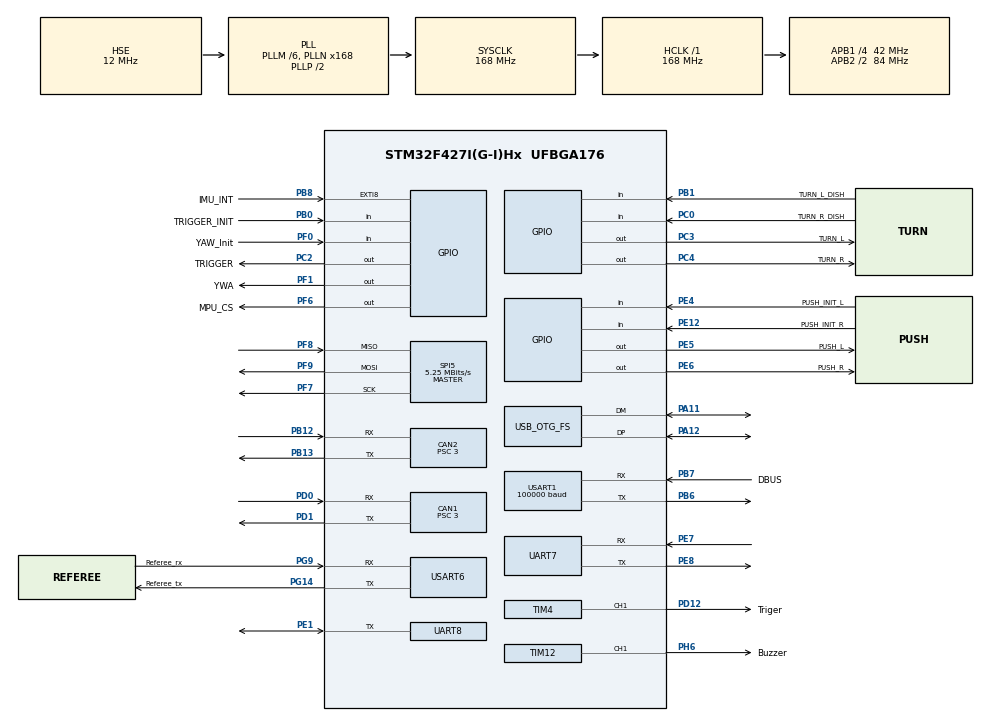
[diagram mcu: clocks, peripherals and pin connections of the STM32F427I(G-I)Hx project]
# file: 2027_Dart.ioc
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ADC1.Channel-0\#ChannelRegularConversion=ADC_CHANNEL_TEMPSENSOR
ADC1.ClockPrescaler=ADC_CLOCK_SYNC_PCLK_DIV6
ADC1.InjNumberOfConversion=0
ADC1.NbrOfConversionFlag=1
ADC1.Rank-0\#ChannelRegularConversion=1
ADC1.SamplingTime-0\#ChannelRegularConversion=ADC_SAMPLETIME_3CYCLES
ADC1.master=1
CAN1.ABOM=ENABLE
CAN1.BS1=CAN_BS1_10TQ
CAN1.BS2=CAN_BS2_3TQ
CAN1.CalculateBaudRate=1000000
CAN1.CalculateTimeBit=1000
CAN1.CalculateTimeQuantum=71.42857142857143
CAN1.NART=ENABLE
CAN1.Prescaler=3
CAN2.ABOM=ENABLE
CAN2.BS1=CAN_BS1_10TQ
CAN2.BS2=CAN_BS2_3TQ
CAN2.CalculateBaudRate=1000000
CAN2.CalculateTimeBit=1000
CAN2.CalculateTimeQuantum=71.42857142857143
CAN2.NART=ENABLE
CAN2.Prescaler=3
Dma.Request0=USART1_RX
Dma.Request1=USART6_RX
Dma.Request2=USART6_TX
Dma.Request3=UART7_TX
Dma.Request4=UART7_RX
Dma.UART7_RX.4.Direction=DMA_PERIPH_TO_MEMORY
Dma.UART7_RX.4.FIFOMode=DMA_FIFOMODE_DISABLE
Dma.UART7_RX.4.Instance=DMA1_Stream3
Dma.UART7_RX.4.MemDataAlignment=DMA_MDATAALIGN_BYTE
Dma.UART7_RX.4.MemInc=DMA_MINC_ENABLE
Dma.UART7_RX.4.Mode=DMA_CIRCULAR
Dma.UART7_RX.4.PeriphDataAlignment=DMA_PDATAALIGN_BYTE
Dma.UART7_RX.4.PeriphInc=DMA_PINC_DISABLE
Dma.UART7_RX.4.Priority=DMA_PRIORITY_MEDIUM
Dma.UART7_TX.3.Direction=DMA_MEMORY_TO_PERIPH
Dma.UART7_TX.3.FIFOMode=DMA_FIFOMODE_DISABLE
Dma.UART7_TX.3.Instance=DMA1_Stream1
Dma.UART7_TX.3.MemDataAlignment=DMA_MDATAALIGN_BYTE
Dma.UART7_TX.3.MemInc=DMA_MINC_ENABLE
Dma.UART7_TX.3.Mode=DMA_NORMAL
Dma.UART7_TX.3.PeriphDataAlignment=DMA_PDATAALIGN_BYTE
Dma.UART7_TX.3.PeriphInc=DMA_PINC_DISABLE
Dma.UART7_TX.3.Priority=DMA_PRIORITY_MEDIUM
Dma.USART1_RX.0.Direction=DMA_PERIPH_TO_MEMORY
Dma.USART1_RX.0.FIFOMode=DMA_FIFOMODE_DISABLE
Dma.USART1_RX.0.Instance=DMA2_Stream2
Dma.USART1_RX.0.MemDataAlignment=DMA_MDATAALIGN_BYTE
Dma.USART1_RX.0.MemInc=DMA_MINC_ENABLE
Dma.USART1_RX.0.Mode=DMA_NORMAL
Dma.USART1_RX.0.PeriphDataAlignment=DMA_PDATAALIGN_BYTE
Dma.USART1_RX.0.PeriphInc=DMA_PINC_DISABLE
Dma.USART1_RX.0.Priority=DMA_PRIORITY_HIGH
Dma.USART6_RX.1.Direction=DMA_PERIPH_TO_MEMORY
Dma.USART6_RX.1.FIFOMode=DMA_FIFOMODE_ENABLE
Dma.USART6_RX.1.FIFOThreshold=DMA_FIFO_THRESHOLD_FULL
Dma.USART6_RX.1.Instance=DMA2_Stream1
Dma.USART6_RX.1.MemBurst=DMA_MBURST_SINGLE
Dma.USART6_RX.1.MemDataAlignment=DMA_MDATAALIGN_BYTE
Dma.USART6_RX.1.MemInc=DMA_MINC_ENABLE
Dma.USART6_RX.1.Mode=DMA_NORMAL
Dma.USART6_RX.1.PeriphBurst=DMA_PBURST_SINGLE
Dma.USART6_RX.1.PeriphDataAlignment=DMA_PDATAALIGN_BYTE
Dma.USART6_RX.1.PeriphInc=DMA_PINC_DISABLE
Dma.USART6_RX.1.Priority=DMA_PRIORITY_HIGH
Dma.USART6_TX.2.Direction=DMA_MEMORY_TO_PERIPH
Dma.USART6_TX.2.FIFOMode=DMA_FIFOMODE_DISABLE
Dma.USART6_TX.2.Instance=DMA2_Stream6
Dma.USART6_TX.2.MemDataAlignment=DMA_MDATAALIGN_BYTE
Dma.USART6_TX.2.MemInc=DMA_MINC_ENABLE
Dma.USART6_TX.2.Mode=DMA_NORMAL
Dma.USART6_TX.2.PeriphDataAlignment=DMA_PDATAALIGN_BYTE
Dma.USART6_TX.2.PeriphInc=DMA_PINC_DISABLE
Dma.USART6_TX.2.Priority=DMA_PRIORITY_MEDIUM
FREERTOS.Tasks01=defaultTask,0,128,StartDefaultTask,Default,NULL,Dynamic,NULL,NULL;detectTask,-3,128,detect_task,As weak,NULL,Dynamic,NULL,NULL;USBTask,-3,128,usb_task,As weak,NULL,Dynamic,NULL,NULL;DecodeTask,-3,128,decode_task,As weak,NULL,Dynamic,NULL,NULL;DartTask,-3,256,dart_task,As weak,NULL,Dynamic,NULL,NULL
FREERTOS.configENABLE_FPU=1
FREERTOS.configTOTAL_HEAP_SIZE=24576
FREERTOS.configUSE_COUNTING_SEMAPHORES=1
Mcu.Family=STM32F4
Mcu.Name=STM32F427I(G-I)Hx
Mcu.Package=UFBGA176
NVIC.CAN1_RX0_IRQn=true\:5\:0\:true\:false\:true\:true\:true\:true\:true
NVIC.CAN2_RX0_IRQn=true\:5\:0\:true\:false\:true\:true\:true\:true\:true
NVIC.DMA1_Stream1_IRQn=true\:5\:0\:false\:false\:true\:true\:false\:true\:true
NVIC.DMA1_Stream3_IRQn=true\:5\:0\:false\:false\:true\:true\:false\:true\:true
NVIC.DMA2_Stream1_IRQn=true\:5\:0\:true\:false\:true\:true\:false\:true\:true
NVIC.DMA2_Stream2_IRQn=true\:5\:0\:true\:false\:true\:true\:false\:true\:true
NVIC.DMA2_Stream6_IRQn=true\:5\:0\:true\:false\:true\:true\:false\:true\:true
NVIC.EXTI9_5_IRQn=true\:5\:0\:true\:false\:true\:true\:true\:true\:true
NVIC.OTG_FS_IRQn=true\:5\:0\:true\:false\:true\:true\:true\:true\:true
NVIC.PriorityGroup=NVIC_PRIORITYGROUP_4
NVIC.UART7_IRQn=true\:5\:0\:false\:false\:true\:true\:true\:true\:true
NVIC.USART1_IRQn=true\:5\:0\:true\:false\:true\:true\:true\:true\:true
NVIC.USART6_IRQn=true\:5\:0\:true\:false\:true\:true\:true\:true\:true
PA11.Mode=Device_Only
PA11.Signal=USB_OTG_FS_DM
PA12.Mode=Device_Only
PA12.Signal=USB_OTG_FS_DP
PA13.Mode=Serial_Wire
PA13.Signal=SYS_JTMS-SWDIO
PA14.Mode=Serial_Wire
PA14.Signal=SYS_JTCK-SWCLK
PB0.GPIO_Label=TRIGGER_INIT
PB0.GPIO_PuPd=GPIO_PULLDOWN
PB0.Signal=GPIO_Input
PB1.GPIO_Label=TURN_L_DISH
PB1.GPIO_PuPd=GPIO_PULLDOWN
PB1.Signal=GPIO_Input
PB12.GPIO_PuPd=GPIO_PULLUP
PB12.Mode=CAN_Activate
PB12.Signal=CAN2_RX
PB13.GPIO_PuPd=GPIO_PULLUP
PB13.Mode=CAN_Activate
PB13.Signal=CAN2_TX
PB6.Mode=Asynchronous
PB6.Signal=USART1_TX
PB7.GPIO_Label=DBUS
PB7.GPIO_PuPd=GPIO_PULLUP
PB7.Mode=Asynchronous
PB7.Signal=USART1_RX
PB8.GPIO_Label=IMU_INT
PB8.Signal=GPXTI8
PC0.GPIO_Label=TURN_R_DISH
PC0.GPIO_PuPd=GPIO_PULLDOWN
PC0.Signal=GPIO_Input
PC2.GPIO_Label=TRIGGER
PC2.GPIO_PuPd=GPIO_PULLUP
PC2.Signal=GPIO_Output
PC3.GPIO_Label=TURN_L
PC3.GPIO_PuPd=GPIO_PULLUP
PC3.Signal=GPIO_Output
PC4.GPIO_Label=TURN_R
PC4.GPIO_PuPd=GPIO_PULLUP
PC4.Signal=GPIO_Output
PD0.GPIO_PuPd=GPIO_PULLUP
PD0.Mode=CAN_Activate
PD0.Signal=CAN1_RX
PD1.GPIO_PuPd=GPIO_PULLUP
PD1.Mode=CAN_Activate
PD1.Signal=CAN1_TX
PD12.GPIO_Label=Triger
PD12.Signal=S_TIM4_CH1
PE1.GPIO_ModeDefaultOD=GPIO_MODE_AF_PP
PE1.GPIO_PuPd=GPIO_PULLUP
PE1.Mode=Half_duplex(single_wire_mode)
PE1.Signal=UART8_TX
PE12.GPIO_Label=PUSH_INIT_R
PE12.GPIO_PuPd=GPIO_PULLDOWN
PE12.Signal=GPIO_Input
PE4.GPIO_Label=PUSH_INIT_L
PE4.GPIO_PuPd=GPIO_PULLDOWN
PE4.Signal=GPIO_Input
PE5.GPIO_Label=PUSH_L
PE5.GPIO_PuPd=GPIO_PULLUP
PE5.Signal=GPIO_Output
PE6.GPIO_Label=PUSH_R
PE6.GPIO_PuPd=GPIO_PULLUP
PE6.Signal=GPIO_Output
PE7.Mode=Asynchronous
PE7.Signal=UART7_RX
PE8.GPIO_PuPd=GPIO_PULLUP
PE8.Mode=Asynchronous
PE8.Signal=UART7_TX
PF0.GPIO_Label=YAW_Init
PF0.GPIO_PuPd=GPIO_PULLDOWN
PF0.Signal=GPIO_Input
PF1.GPIO_Label=YWA
PF1.GPIO_PuPd=GPIO_PULLUP
PF1.Signal=GPIO_Output
PF6.GPIO_Label=MPU_CS
PF6.GPIO_Speed=GPIO_SPEED_FREQ_HIGH
PF6.Signal=GPIO_Output
PF7.GPIO_Speed=GPIO_SPEED_FREQ_HIGH
PF7.Mode=Full_Duplex_Master
PF7.Signal=SPI5_SCK
PF8.GPIO_PuPd=GPIO_PULLUP
PF8.GPIO_Speed=GPIO_SPEED_FREQ_HIGH
PF8.Mode=Full_Duplex_Master
PF8.Signal=SPI5_MISO
PF9.GPIO_Speed=GPIO_SPEED_FREQ_HIGH
PF9.Mode=Full_Duplex_Master
PF9.Signal=SPI5_MOSI
PG14.GPIO_Label=Referee_tx
PG14.Mode=Asynchronous
PG14.Signal=USART6_TX
PG9.GPIO_Label=Referee_rx
PG9.Mode=Asynchronous
PG9.Signal=USART6_RX
PH0/OSC_IN.Mode=HSE-External-Oscillator
PH0/OSC_IN.Signal=RCC_OSC_IN
PH1/OSC_OUT.Mode=HSE-External-Oscillator
PH1/OSC_OUT.Signal=RCC_OSC_OUT
PH6.GPIO_Label=Buzzer
PH6.GPIO_Speed=GPIO_SPEED_FREQ_MEDIUM
PH6.Signal=S_TIM12_CH1
ProjectManager.HeapSize=0x200
ProjectManager.StackSize=0x400
ProjectManager.TargetToolchain=STM32CubeIDE
RCC.48MHZClocksFreq_Value=48000000
RCC.AHBFreq_Value=168000000
RCC.APB1CLKDivider=RCC_HCLK_DIV4
RCC.APB1Freq_Value=42000000
RCC.APB1TimFreq_Value=84000000
RCC.APB2CLKDivider=RCC_HCLK_DIV2
RCC.APB2Freq_Value=84000000
RCC.APB2TimFreq_Value=168000000
RCC.CortexFreq_Value=168000000
RCC.HCLKFreq_Value=168000000
RCC.HSE_VALUE=12000000
RCC.HSI_VALUE=16000000
RCC.LSE_VALUE=32768
RCC.PLLM=6
RCC.PLLN=168
RCC.PLLQ=7
RCC.SYSCLKFreq_VALUE=168000000
RCC.SYSCLKSource=RCC_SYSCLKSOURCE_PLLCLK
RCC.VCOOutputFreq_Value=336000000
SH.S_TIM12_CH1.0=TIM12_CH1,PWM Generation1 CH1
SH.S_TIM4_CH1.0=TIM4_CH1,PWM Generation1 CH1
SPI5.BaudRatePrescaler=SPI_BAUDRATEPRESCALER_16
SPI5.CLKPolarity=SPI_POLARITY_LOW
SPI5.CalculateBaudRate=5.25 MBits/s
SPI5.Direction=SPI_DIRECTION_2LINES
SPI5.Mode=SPI_MODE_MASTER
SPI5.VirtualType=VM_MASTER
TIM12.Channel-PWM\ Generation1\ CH1=TIM_CHANNEL_1
TIM4.Channel-PWM\ Generation1\ CH1=TIM_CHANNEL_1
TIM4.Period=19999
TIM4.Prescaler=83
TIM4.Pulse-PWM\ Generation1\ CH1=1500
UART7.VirtualMode=Asynchronous
UART8.VirtualMode=Asynchronous
USART1.BaudRate=100000
USART1.Mode=MODE_RX
USART1.Parity=PARITY_EVEN
USART1.VirtualMode=VM_ASYNC
USART1.WordLength=WORDLENGTH_9B
USART6.VirtualMode=VM_ASYNC
USB_DEVICE.CLASS_NAME_FS=CDC
USB_DEVICE.VirtualMode-CDC_FS=Cdc
USB_DEVICE.VirtualModeFS=Cdc_FS
USB_OTG_FS.VirtualMode=Device_Only
VP_ADC1_TempSens_Input.Mode=IN-TempSens
VP_ADC1_Vref_Input.Mode=IN-Vrefint
VP_CRC_VS_CRC.Mode=CRC_Activate
VP_FREERTOS_VS_CMSIS_V1.Mode=CMSIS_V1
VP_RNG_VS_RNG.Mode=RNG_Activate
VP_TIM12_VS_ClockSourceINT.Mode=Internal
VP_TIM4_VS_ClockSourceINT.Mode=Internal
VP_USB_DEVICE_VS_USB_DEVICE_CDC_FS.Mode=CDC_FS
board=custom

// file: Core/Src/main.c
/* USER CODE BEGIN Header */
/**
  ******************************************************************************
  * @file           : main.c
  * @brief          : Main program body
  ******************************************************************************
  * @attention
  *
  * Copyright (c) 2026 STMicroelectronics.
  * All rights reserved.
  *
  * This software is licensed under terms that can be found in the LICENSE file
  * in the root directory of this software component.
  * If no LICENSE file comes with this software, it is provided AS-IS.
  *
  ******************************************************************************
  */
/* USER CODE END Header */
#include "main.h"
#include "cmsis_os.h"
#include "adc.h"
#include "can.h"
#include "crc.h"
#include "dma.h"
#include "rng.h"
#include "spi.h"
#include "tim.h"
#include "usart.h"
#include "usb_device.h"
#include "gpio.h"
#include "bsp_can.h"
#include "remote.h"

/* USER CODE BEGIN PTD */
typedef enum
{
  CLOCK_ERROR_NONE = 0U,
  CLOCK_ERROR_HSE_START_TIMEOUT = 1U,
  CLOCK_ERROR_PLL_START_TIMEOUT = 2U,
  CLOCK_ERROR_PLL_STOP_TIMEOUT = 3U,
  CLOCK_ERROR_PLL_CONFIG_MISMATCH = 4U,
  CLOCK_ERROR_OSC_CONFIG_UNKNOWN = 5U,
  CLOCK_ERROR_CLOCK_CONFIG = 6U,
  CLOCK_ERROR_RCC_DEINIT = 7U
} ClockErrorCode;
/* USER CODE END PTD */

/* USER CODE BEGIN PV */
volatile ClockErrorCode g_clock_error_code = CLOCK_ERROR_NONE;
volatile HAL_StatusTypeDef g_clock_hal_status = HAL_OK;
volatile uint32_t g_clock_rcc_cr = 0U;
volatile uint32_t g_clock_rcc_cfgr = 0U;
volatile uint32_t g_clock_rcc_pllcfgr = 0U;
const char * volatile g_clock_error_message = "none";
/* USER CODE END PV */

void SystemClock_Config(void);
void MX_FREERTOS_Init(void);

/* USER CODE BEGIN 0 */
static void Clock_SaveOscConfigError(HAL_StatusTypeDef status)
{
  g_clock_hal_status = status;
  g_clock_rcc_cr = RCC->CR;
  g_clock_rcc_cfgr = RCC->CFGR;
  g_clock_rcc_pllcfgr = RCC->PLLCFGR;

  if ((status == HAL_TIMEOUT) && ((g_clock_rcc_cr & RCC_CR_HSERDY) == 0U))
  {
    g_clock_error_code = CLOCK_ERROR_HSE_START_TIMEOUT;
    g_clock_error_message = "HSE did not become ready";
  }
  else if ((status == HAL_TIMEOUT) &&
           ((g_clock_rcc_cr & RCC_CR_PLLON) != 0U) &&
           ((g_clock_rcc_cr & RCC_CR_PLLRDY) == 0U))
  {
    g_clock_error_code = CLOCK_ERROR_PLL_START_TIMEOUT;
    g_clock_error_message = "PLL did not lock";
  }
  else if ((status == HAL_TIMEOUT) &&
           ((g_clock_rcc_cr & RCC_CR_PLLON) == 0U) &&
           ((g_clock_rcc_cr & RCC_CR_PLLRDY) != 0U))
  {
    g_clock_error_code = CLOCK_ERROR_PLL_STOP_TIMEOUT;
    g_clock_error_message = "PLL did not stop";
  }
  else if ((status == HAL_ERROR) &&
           ((g_clock_rcc_cfgr & RCC_CFGR_SWS) == RCC_CFGR_SWS_PLL))
  {
    g_clock_error_code = CLOCK_ERROR_PLL_CONFIG_MISMATCH;
    g_clock_error_message = "running PLL configuration does not match";
  }
  else
  {
    g_clock_error_code = CLOCK_ERROR_OSC_CONFIG_UNKNOWN;
    g_clock_error_message = "unknown oscillator configuration error";
  }

}

static HAL_StatusTypeDef Clock_RCC_OscConfig(const RCC_OscInitTypeDef *config)
{
  HAL_StatusTypeDef status = HAL_RCC_OscConfig(config);

  if (status != HAL_OK)
  {
    Clock_SaveOscConfigError(status);
  }

  return status;
}

static HAL_StatusTypeDef Clock_RCC_DeInit(void)
{
  HAL_StatusTypeDef status = HAL_RCC_DeInit();

  if (status != HAL_OK)
  {
    g_clock_hal_status = status;
    g_clock_error_code = CLOCK_ERROR_RCC_DEINIT;
    g_clock_error_message = "RCC reset before clock configuration failed";
    g_clock_rcc_cr = RCC->CR;
    g_clock_rcc_cfgr = RCC->CFGR;
    g_clock_rcc_pllcfgr = RCC->PLLCFGR;
  }

  return status;
}

static HAL_StatusTypeDef Clock_RCC_ClockConfig(const RCC_ClkInitTypeDef *config,
                                                uint32_t flash_latency)
{
  HAL_StatusTypeDef status = HAL_RCC_ClockConfig(config, flash_latency);

  if (status != HAL_OK)
  {
    g_clock_hal_status = status;
    g_clock_error_code = CLOCK_ERROR_CLOCK_CONFIG;
    g_clock_error_message = "system clock switch failed";
    g_clock_rcc_cr = RCC->CR;
    g_clock_rcc_cfgr = RCC->CFGR;
    g_clock_rcc_pllcfgr = RCC->PLLCFGR;
  }

  return status;
}

#define HAL_RCC_OscConfig(config) Clock_RCC_OscConfig(config)
#define HAL_RCC_DeInit() Clock_RCC_DeInit()
#define HAL_RCC_ClockConfig(config, flash_latency) \
  Clock_RCC_ClockConfig((config), (flash_latency))

void Rest_Init()
{
  HAL_GPIO_WritePin(TURN_R_GPIO_Port,TURN_R_Pin,GPIO_PIN_SET);
  HAL_GPIO_WritePin(TURN_L_GPIO_Port,TURN_L_Pin,GPIO_PIN_SET);
  HAL_GPIO_WritePin(PUSH_L_GPIO_Port,PUSH_L_Pin,GPIO_PIN_SET);
  /* 左右推板使用不同引脚；原来这里重复写左推板，右推板始终保持初始化低电平。 */
  HAL_GPIO_WritePin(PUSH_R_GPIO_Port,PUSH_R_Pin,GPIO_PIN_SET);
  HAL_GPIO_WritePin(YWA_GPIO_Port,YWA_Pin,GPIO_PIN_SET);
  /* 与 master 一致：释放 PC2 的扳机相关控制线；PD12 留给 TIM4 的 PWM 功能。 */
  HAL_GPIO_WritePin(TRIGGER_GPIO_Port,TRIGGER_Pin,GPIO_PIN_SET);

}
/* USER CODE END 0 */

int main(void)
{

  /* MCU Configuration--------------------------------------------------------*/

  /* Reset of all peripherals, Initializes the Flash interface and the Systick. */
  HAL_Init();

  /* USER CODE BEGIN Init */
  /* A bootloader/debug session may leave the MCU running from an old PLL.
     Return to the HSI reset state before changing PLL parameters. */
  if (HAL_RCC_DeInit() != HAL_OK)
  {
    Error_Handler();
  }

  /* USER CODE END Init */

  /* Configure the system clock */
  SystemClock_Config();

  /* Initialize all configured peripherals */
  MX_GPIO_Init();
  MX_DMA_Init();
  MX_CAN1_Init();
  MX_CAN2_Init();
  MX_USART1_UART_Init();
  MX_USART6_UART_Init();
  MX_SPI5_Init();
  MX_TIM12_Init();
  MX_CRC_Init();
  MX_RNG_Init();
  MX_ADC1_Init();
  MX_TIM4_Init();
  MX_UART7_Init();
  MX_UART8_Init();
  /* USER CODE BEGIN 2 */
  HAL_TIM_PWM_Start(&htim12, TIM_CHANNEL_1);
  can_filter_init();
  Rest_Init();
  remote_control_init();

  /* USER CODE END 2 */

  /* Call init function for freertos objects (in cmsis_os2.c) */
  MX_FREERTOS_Init();

  /* Start scheduler */
  osKernelStart();

  /* We should never get here as control is now taken by the scheduler */

  /* Infinite loop */
  while (1)
  {

  }
}

void SystemClock_Config(void)
{
  RCC_OscInitTypeDef RCC_OscInitStruct = {0};
  RCC_ClkInitTypeDef RCC_ClkInitStruct = {0};

  /** Configure the main internal regulator output voltage
  */
  __HAL_RCC_PWR_CLK_ENABLE();
  __HAL_PWR_VOLTAGESCALING_CONFIG(PWR_REGULATOR_VOLTAGE_SCALE1);

  /** Initializes the RCC Oscillators according to the specified parameters
  * in the RCC_OscInitTypeDef structure.
  */
  RCC_OscInitStruct.OscillatorType = RCC_OSCILLATORTYPE_HSE;
  RCC_OscInitStruct.HSEState = RCC_HSE_ON;
  RCC_OscInitStruct.PLL.PLLState = RCC_PLL_ON;
  RCC_OscInitStruct.PLL.PLLSource = RCC_PLLSOURCE_HSE;
  RCC_OscInitStruct.PLL.PLLM = 6;
  RCC_OscInitStruct.PLL.PLLN = 168;
  RCC_OscInitStruct.PLL.PLLP = RCC_PLLP_DIV2;
  RCC_OscInitStruct.PLL.PLLQ = 7;
  if (HAL_RCC_OscConfig(&RCC_OscInitStruct) != HAL_OK)
  {
    Error_Handler();
  }

  /** Initializes the CPU, AHB and APB buses clocks
  */
  RCC_ClkInitStruct.ClockType = RCC_CLOCKTYPE_HCLK|RCC_CLOCKTYPE_SYSCLK
                              |RCC_CLOCKTYPE_PCLK1|RCC_CLOCKTYPE_PCLK2;
  RCC_ClkInitStruct.SYSCLKSource = RCC_SYSCLKSOURCE_PLLCLK;
  RCC_ClkInitStruct.AHBCLKDivider = RCC_SYSCLK_DIV1;
  RCC_ClkInitStruct.APB1CLKDivider = RCC_HCLK_DIV4;
  RCC_ClkInitStruct.APB2CLKDivider = RCC_HCLK_DIV2;

  if (HAL_RCC_ClockConfig(&RCC_ClkInitStruct, FLASH_LATENCY_5) != HAL_OK)
  {
    Error_Handler();
  }
}

void Error_Handler(void)
{
  __disable_irq();
  while (1)
  {
  }
}

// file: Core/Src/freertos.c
/* USER CODE BEGIN Header */
/**
  ******************************************************************************
  * File Name          : freertos.c
  * Description        : Code for freertos applications
  ******************************************************************************
  * @attention
  *
  * Copyright (c) 2026 STMicroelectronics.
  * All rights reserved.
  *
  * This software is licensed under terms that can be found in the LICENSE file
  * in the root directory of this software component.
  * If no LICENSE file comes with this software, it is provided AS-IS.
  *
  ******************************************************************************
  */
/* USER CODE END Header */

#include "FreeRTOS.h"
#include "task.h"
#include "app_tasks.h"
#include "decode.h"
#include "topic_bus.h"
#include "usb_task.h"

/* USER CODE BEGIN PD */
/* USER CODE BEGIN PV */
/* USER CODE END PV */

/* USER CODE END PD */

void MX_FREERTOS_Init(void); /* (MISRA C 2004 rule 8.1) */

/* GetIdleTaskMemory prototype (linked to static allocation support) */
void vApplicationGetIdleTaskMemory( StaticTask_t **ppxIdleTaskTCBBuffer, StackType_t **ppxIdleTaskStackBuffer, uint32_t *pulIdleTaskStackSize );

/* USER CODE BEGIN GET_IDLE_TASK_MEMORY */
static StaticTask_t xIdleTaskTCBBuffer;
static StackType_t xIdleStack[configMINIMAL_STACK_SIZE];

void vApplicationGetIdleTaskMemory( StaticTask_t **ppxIdleTaskTCBBuffer, StackType_t **ppxIdleTaskStackBuffer, uint32_t *pulIdleTaskStackSize )
{
  /* 空闲任务同样使用静态控制块和静态栈，系统运行期间不从堆申请内存。 */
  *ppxIdleTaskTCBBuffer = &xIdleTaskTCBBuffer;
  *ppxIdleTaskStackBuffer = &xIdleStack[0];
  *pulIdleTaskStackSize = configMINIMAL_STACK_SIZE;
}
/* USER CODE END GET_IDLE_TASK_MEMORY */

void MX_FREERTOS_Init(void) {

  /* USER CODE BEGIN RTOS_QUEUES */
  /*
   * 先创建跨任务通信资源，再创建可能立即访问这些资源的业务任务。三个初始化函数都
   * 使用静态存储并保持幂等，避免启动顺序造成空句柄访问。
   */
  topic_bus_init();
  decode_transport_init();
  usb_task_queue_init();

  /* USER CODE END RTOS_QUEUES */

  /* Create the thread(s) */
  /* USER CODE BEGIN RTOS_THREADS */
  /* 四个业务任务由统一静态描述表创建，任一创建失败都在启动阶段立即暴露。 */
  configASSERT(app_tasks_init());

  /* USER CODE END RTOS_THREADS */

}

/* USER CODE BEGIN Application */

void vApplicationStackOverflowHook(TaskHandle_t task, char *task_name)
{
  /* 栈溢出后禁止继续驱动机构；保留参数便于调试器检查故障任务。 */
  (void)task;
  (void)task_name;
  taskDISABLE_INTERRUPTS();
  for (;;) {}
}

void vApplicationMallocFailedHook(void)
{
  /* 工程原则上不在运行期申请堆；若第三方组件申请失败，则立即进入安全停机。 */
  taskDISABLE_INTERRUPTS();
  for (;;) {}
}

/* USER CODE END Application */
